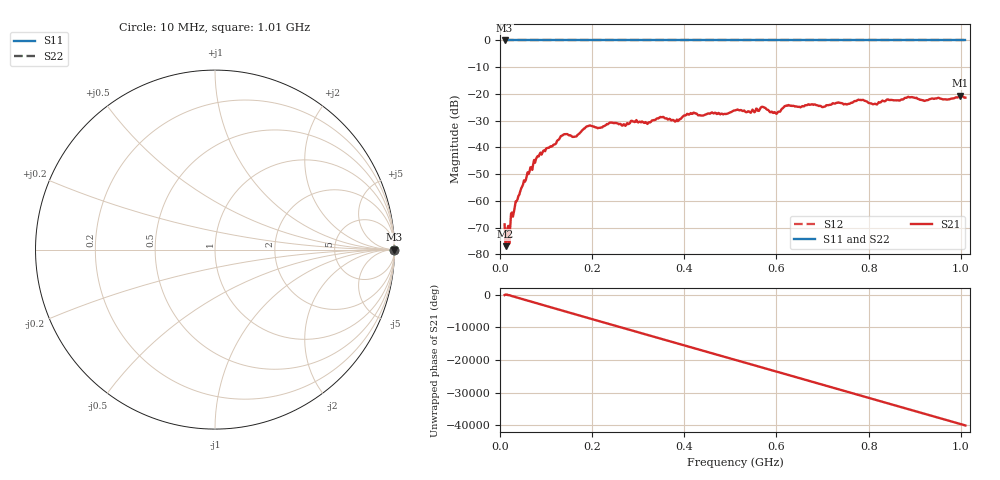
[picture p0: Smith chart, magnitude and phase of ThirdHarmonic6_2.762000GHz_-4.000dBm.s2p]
! 8/17/2025 6:58:24 AM
! C:\ANRITSUVNA\TEMP\TEMP.S2P
! CHANNEL.1
! TR.MEASUREMENT
! RAW.DATA
! RF.CORRECTION.OFF
! AVERAGING.OFF
! IF.BANDWIDTH: 5KHZ
! SWEEPTYPE:  FREQ.SWEEP(Linear)
! Reference Plane Port Info
! PORT:  PORT1  PORT2
! DISTANCE:  0  m  0  m
! TIME:  0  s  0  s
! PHASE.OFFSET:  0  deg.  0  deg.
! LOSS:  0  dB  0  dB
! REF.LOSS:  0  dB  0  dB
! REF.FREQ:  0  Hz  0  Hz
! Power Info
! POWER:  -20  dBm  -20  dBm
! EFF.POWER:  -20  dBm  -20  dBm
! SOURCE.ATTEN:  0  dB  0  dB
! TEST.ATTEN:  0  dB  0  dB
# GHZ S RI R 50.0
! FREQ.GHZ  S11RE  S11IM  S21RE  S21IM  S12RE  S12IM  S22RE  S22IM
!; PortSelection: Port_12
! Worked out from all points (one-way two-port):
!   501 points, 10 MHz to 1.01 GHz, reference 50 ohm
!   highest |S21| = -20.72 dB at 998 MHz (marker M1); lowest = -77.0 dB at 12 MHz (marker M2)
!   lowest |S11| = 0.0 dB at 10 MHz (marker M3)
!   |S11| at or under -10 dB: nowhere
!   |S22| runs from 0.0 to 0.0 dB; largest |S21 - S12| = 1.1
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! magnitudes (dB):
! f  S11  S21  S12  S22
! 10 MHz  0.0  -68.8  0.0  0.0
! 12 MHz  0.0  -77.0  0.0  0.0
! 16 MHz  0.0  -70.3  0.0  0.0
! 28 MHz  0.0  -65.9  0.0  0.0
! 48 MHz  0.0  -54.7  0.0  0.0
! 84 MHz  0.0  -43.4  0.0  0.0
! 136 MHz  0.0  -35.5  0.0  0.0
! 162 MHz  0.0  -36.0  0.0  0.0
! 178 MHz  0.0  -33.6  0.0  0.0
! 192 MHz  0.0  -32.0  0.0  0.0
! 322 MHz  0.0  -30.8  0.0  0.0
! 344 MHz  0.0  -29.2  0.0  0.0
! 382 MHz  0.0  -30.2  0.0  0.0
! 418 MHz  0.0  -27.4  0.0  0.0
! 510 MHz  0.0  -26.2  0.0  0.0
! 570 MHz  0.0  -24.8  0.0  0.0
! 598 MHz  0.0  -27.1  0.0  0.0
! 622 MHz  0.0  -24.3  0.0  0.0
! 678 MHz  0.0  -23.9  0.0  0.0
! 844 MHz  0.0  -22.3  0.0  0.0
! 998 MHz  0.0  -20.7  0.0  0.0
! 1.01 GHz  0.0  -21.4  0.0  0.0
